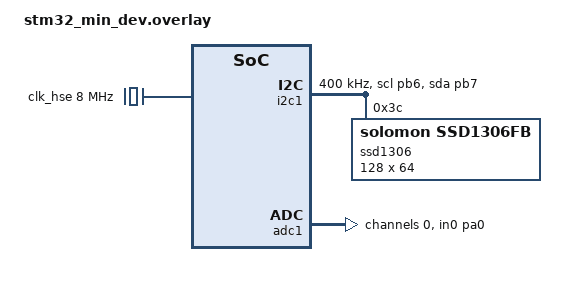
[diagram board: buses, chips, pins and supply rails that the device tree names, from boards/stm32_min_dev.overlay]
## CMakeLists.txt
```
cmake_minimum_required(VERSION 3.20.0)
set(BOARD stm32_bp)
set(SAMPLES_LG 7)

find_package(Zephyr REQUIRED HINTS $ENV{ZEPHYR_BASE})
project(visualizer)

add_compile_definitions(SAMPLES_LG=${SAMPLES_LG})

add_custom_command(
    OUTPUT "${CMAKE_CURRENT_SOURCE_DIR}/src/tables.h"
    COMMAND "${CMAKE_CURRENT_SOURCE_DIR}/scripts/table_gen.py" ${SAMPLES_LG}
    DEPENDS "${CMAKE_CURRENT_SOURCE_DIR}/scripts/table_gen.py"
)

add_custom_target(
    tables
    DEPENDS "${CMAKE_CURRENT_SOURCE_DIR}/src/tables.h"
)

add_dependencies(app tables)

target_sources(app PRIVATE src/main.c)
target_sources(app PRIVATE src/adc.c)
target_sources(app PRIVATE src/ssd1306.c)
target_sources(app PRIVATE src/fft.c)
```

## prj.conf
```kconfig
CONFIG_BOOT_BANNER=n
CONFIG_SPI=n

CONFIG_ADC=y
CONFIG_I2C=y

CONFIG_DISPLAY=y
CONFIG_CHARACTER_FRAMEBUFFER=y
CONFIG_HEAP_MEM_POOL_SIZE=2048
```

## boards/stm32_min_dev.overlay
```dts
&clk_hse {
	clock-frequency = <DT_FREQ_M(8)>;
	status = "okay";
};

&clk_hsi {
	clock-frequency = <DT_FREQ_M(8)>;
	status = "okay";
};

&pll {
	mul = <9>;
	clocks = <&clk_hse>;
	status = "okay";
};

&rcc {
	clocks = <&pll>;
	clock-frequency = <DT_FREQ_M(72)>;
	ahb-prescaler = <1>;
	apb1-prescaler = <2>;
	apb2-prescaler = <16>;
	adc-prescaler = <8>;
};

// SSD1306 in at I2C1
&i2c1 {
	pinctrl-0 = < &i2c1_scl_pb6 &i2c1_sda_pb7 >;
	status = "okay";
	pinctrl-names = "default";
	clock-frequency = <I2C_BITRATE_FAST>;

    ssd1306: ssd1306@3c {
        compatible = "solomon,ssd1306fb";
        reg = <0x3c>;
        width = <128>;
        height = <64>;
        segment-offset = <0>;
		page-offset = <0>;
		display-offset = <0>;
		multiplex-ratio = <63>;
		segment-remap;
		com-invdir;
		prechargep = <0x22>;
    };
};

// Signal in at A0
&adc1 {
    #io-channel-cels = <1>;
	#address-cells = <1>;
	#size-cells = <0>;

	pinctrl-0 = <&adc1_in0_pa0>;
	pinctrl-names = "default";
	status = "okay";

	channel@0 {
		reg = <0>;
		zephyr,gain = "ADC_GAIN_1";
		zephyr,reference = "ADC_REF_INTERNAL";
		zephyr,acquisition-time = <ADC_ACQ_TIME_DEFAULT>;
		zephyr,resolution = <12>;
	};
};
```

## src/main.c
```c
#include "adc.h"
#include "fft.h"
#include "ssd1306.h"

#include <stdio.h>
#include <zephyr/kernel.h>

#define HEAP_SIZE (SAMPLES * sizeof(complex_t) * 8)
K_HEAP_DEFINE(fft_heap, HEAP_SIZE);

int main(void)
{
    if (adc_init() < 0)
        return -1;

    printf("adc init done\n");

    complex_t *data = k_heap_alloc(&fft_heap, SAMPLES * sizeof(complex_t), K_MSEC(1000));
    int8_t bins[BINS];
    for (int16_t i = 0; i < BINS; i++)
        bins[i] = 0x7F;

    if (ssd1306_init() < 0)
        goto error;

    printf("ssd1306 init done\n");

    ssd1306_update_frame(bins);

    printf("start sampling\n");
    while (1) {
        if (adc_sample(data) < 0)
            goto error;
        fft_compute(data, bins);
        ssd1306_update_frame(bins);
    }


	return 0;

error:
    k_heap_free(&fft_heap, data);
    return -1;
}
```

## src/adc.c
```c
#include "adc.h"
#include "fft.h"

#include <stdio.h>
#include <zephyr/kernel.h>
#include <zephyr/drivers/adc.h>

#define ADC_NODE DT_NODELABEL(adc1)
#define ADC_CHANNEL_NODE DT_CHILD(ADC_NODE, channel_0)

static const struct device *adc_dev = DEVICE_DT_GET(ADC_NODE);
static const struct adc_channel_cfg adc_chann =
    ADC_CHANNEL_CFG_DT(DT_CHILD(ADC_NODE, channel_0));

enum adc_action adc_sleep(
    const struct device *dev,
    const struct adc_sequence *seq,
    uint16_t idx
)
{
    for (uint16_t i = 0; i < 153; i++)
        __asm volatile("SEV");
    return ADC_ACTION_CONTINUE;
}

const struct adc_sequence_options options = {
    .extra_samplings = SAMPLES - 1,
    .interval_us = 0,
    .callback = adc_sleep,
};

uint16_t buf[SAMPLES];
struct adc_sequence adc_seq = {
    .buffer = buf,
    .buffer_size = sizeof(buf),
    .resolution = 12,
    .channels = BIT(adc_chann.channel_id),
    //.calibrate = true,
    .options = &options,
};

int adc_init(void)
{
    if (!device_is_ready(adc_dev))
    {
        printf("adc not ready, exiting\n");
        return -1;
    }

    if (adc_channel_setup(adc_dev, &adc_chann) < 0)
    {
        printf("error configuring adc channel\n");
        return -1;
    }
    return 0;
}

void adc_mv_conv(int32_t *v)
{
    int err = adc_raw_to_millivolts(
        adc_ref_internal(adc_dev), adc_chann.gain,
        adc_seq.resolution, v);

    if (err < 0)
        printf("error converting raw adc value\n");
}

int adc_sample(complex_t *data)
{
    int err = adc_read(adc_dev, &adc_seq);
    if (err < 0)
    {
        printf("adc error (%d)\n", err);
        return -1;
    }

    for (uint16_t i = 0; i < SAMPLES; i++)
    {
        int32_t v = buf[i];
        adc_mv_conv(&v);
        data[i].Re = v;
        data[i].Im = 0;
    }

    return 0;
}
```

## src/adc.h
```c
#ifndef __ADC_H
#define __ADC_H

#include "fft.h"
#include <stdint.h>

#define SAMPLES (1 << SAMPLES_LG)

int adc_init(void);
void adc_mv_conv(int32_t *v);
int adc_sample(complex_t *data);

#endif
```

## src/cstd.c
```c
#include <stdint.h>

#include "main.h"

int32_t _write(int32_t handle, char *data, int32_t len)
{
    int32_t count = 0;
    for (uint32_t i = 0; i < len; i++)
        count += usart_send(data[i]);
    return count;
}

int32_t _read(int32_t handle, char *data, int32_t len)
{
    for (uint32_t i = 0; i < len; i++)
        data[i] = usart_read();
    return len;
}

int32_t _close(int32_t handle)
{
    return -1;
}

int32_t _lseek(int32_t handle, int32_t offset, int32_t whence)
{
    return -1;
}
```

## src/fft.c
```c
#include <stdint.h>

#include "adc.h"
#include "fft.h"
#include "ssd1306.h"
#include "tables.h"

#define ABS(x)    (((x) < 0) ? (-(x)) : (x))
#define MAX(x, y) (((x) > (y)) ? (x) : (y))
#define MIN(x, y) (((x) > (y)) ? (y) : (x))

void fft_compute(complex_t *data, int8_t *bins)
{
    preprocess(data);
    bit_reversal(data);
    fft(data);
    scale(data, bins);
}

void preprocess(complex_t *data)
{
    int32_t mean = 0;
    for (uint16_t i = 0; i < SAMPLES; i++)
        mean += data[i].Re;
    mean /= SAMPLES;
    for (uint16_t i = 0; i < SAMPLES; i++)
        data[i].Re -= mean;
}

void bit_reversal(complex_t *data)
{
    uint16_t reversal[SAMPLES];
    reversal[0] = 0;
    reversal[1] = 1;
    for (uint16_t k = 2; k <= SAMPLES_LG; k++)
    {
        const uint16_t r = 1 << k;
        const uint16_t l = r >> 1;

        for (uint16_t i = 0; i < l; i++)
            reversal[i] *= 2;
        for (uint16_t i = l; i < r; i++)
            reversal[i] = reversal[i - l] + 1;
    }
    for (uint16_t i = 1; i < SAMPLES; i++)
    {
        uint16_t j = reversal[i];
        if (j > i)
        {
            complex_t tmp = data[i];
            data[i] = data[j];
            data[j] = tmp;
        }
    }
}

void fft(complex_t *data)
{
    uint32_t lg = 0;
    while (lg < SAMPLES_LG)
    {
        const uint32_t n = 1 << lg;
        const uint32_t sets = SAMPLES / (n << 1);
        complex_t *a = &data[0];
        for (uint32_t i = 0; i < n; i++)
        {
            complex_t twiddle;
            if (i != 0 && i != n / 2)
            {
                twiddle.Re = sin_table[(i * sets + SAMPLES / 4) % (SAMPLES / 2)];
                if (i*sets >= SAMPLES / 4)
                    twiddle.Re = -twiddle.Re;
                twiddle.Im = -sin_table[i * sets];
            }

            for (uint32_t j = 0; j < sets; j++)
            {
                complex_t *b = a + n;
                complex_t c; // = b * twiddle
                if (i == 0)
                {
                    // sin(0) == 0 && cos(0) == sin(pi/2) == 1
                    c.Re = b->Re;
                    c.Im = b->Im;
                }
                else if (i == n / 2)
                {
                    // sin(pi / 2) == 1 && cos(pi / 2) == sin(pi) == 0
                    c.Re = b->Im;
                    c.Im = -b->Re;
                }
                else
                {
                    c.Re = scaled_mul(b->Re, twiddle.Re)
                        - scaled_mul(b->Im, twiddle.Im);

                    c.Im = scaled_mul(b->Im, twiddle.Re)
                        + scaled_mul(b->Re, twiddle.Im);
                }

                b->Re = a->Re - c.Re;
                b->Im = a->Im - c.Im;
                a->Re += c.Re;
                a->Im += c.Im;

                a += 2*n;
            }
            a -= SAMPLES - 1;
        }
        lg++;
    }
}

void scale(complex_t *data, int8_t *bins)
{
    data++;

    const uint8_t step = (SAMPLES >> 1) / BINS;

    for (uint16_t i = 0; i < BINS; i++)
    {
        uint32_t tmp = 0;
        for (uint16_t j = 0; j < step; j++)
        {
            tmp += (uint32_t) ABS(data[i*step + j].Re) * ABS(data[i*step + j].Re);
            tmp += (uint32_t) ABS(data[i*step + j].Im) * ABS(data[i*step + j].Im);
        }
        tmp *= 4;
        tmp /= step;
        int16_t lg2 = 0;
        while(tmp)
        {
            tmp >>= 1;
            lg2++;
        }
        bins[i] = MAX(0, 8 * lg2 + weights[i] - 200);
    }
}

int16_t scaled_mul(int16_t a, int16_t b)
{
    int8_t negs = 0;
    if (a < 0)
        negs++;

    if (b < 0)
        negs++;

    uint32_t tmp = ABS(a);
    tmp *= ABS(b);
    tmp >>= 15;
    return (negs == 1) ? -(int16_t) tmp : (int16_t) tmp;
}
```

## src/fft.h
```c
#ifndef __FFT_H
#define __FFT_H

#include <stdint.h>

typedef struct {
    int16_t Re;
    int16_t Im;
} complex_t;


/* fft.c */
void fft_compute(complex_t *data, int8_t *bins);
void preprocess(complex_t *data);
void bit_reversal(complex_t *data);
void fft(complex_t *data);
void scale(complex_t *data, int8_t *frame_buffer);
int16_t scaled_mul(int16_t a, int16_t b);

#endif
```

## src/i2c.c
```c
#include <stdint.h>
#include "stm32f1xx.h"

#include "main.h"

#define I2Ci I2C1
#define I2C_SPEED 1000000

void i2c_init(void)
{
    MODIFY_REG(GPIOB->CRL, GPIO_CRL_CNF6 | GPIO_CRL_MODE6, GPIO_CRL_MODE6 | GPIO_CRL_CNF6);
    MODIFY_REG(GPIOB->CRL, GPIO_CRL_CNF7 | GPIO_CRL_MODE7, GPIO_CRL_MODE7 | GPIO_CRL_CNF7);

    CLEAR_BIT(I2Ci->CR1, I2C_CR1_PE);
    SET_BIT(I2Ci->CR1, I2C_CR1_SWRST);
    CLEAR_BIT(I2Ci->CR1, I2C_CR1_SWRST);

    uint32_t PPRE1 = APBPrescTable[READ_BIT(RCC->CFGR, RCC_CFGR_PPRE1) >> RCC_CFGR_PPRE1_Pos];
    uint32_t PCLK1 = SystemCoreClock >> PPRE1;
    // FREQ = 3 ?
    MODIFY_REG(I2Ci->CR2, I2C_CR2_FREQ, (PCLK1 / 10000000) << I2C_CR2_FREQ_Pos);

    uint32_t CCR = (PCLK1 - 1) / (I2C_SPEED * (9 + 16)) + 1;
    CCR <<= I2C_CCR_CCR_Pos;
    CCR &= I2C_CCR_CCR;
    CCR |= I2C_CCR_DUTY;
    CCR |= I2C_CCR_FS;
    MODIFY_REG(I2Ci->CCR, I2C_CCR_FS | I2C_CCR_DUTY | I2C_CCR_CCR, CCR);

    uint32_t TRISE = PCLK1 * 300 / 1000 + 1;
    MODIFY_REG(I2Ci->TRISE, I2C_TRISE_TRISE, TRISE);

    SET_BIT(I2Ci->CR1, I2C_CR1_PE);
}

void i2c_start(uint8_t i2c_address)
{
    while (READ_BIT(I2Ci->SR2, I2C_SR2_BUSY) != 0x0);
    CLEAR_BIT(I2Ci->CR1, I2C_CR1_POS);
    SET_BIT(I2Ci->CR1, I2C_CR1_START);

    while (READ_BIT(I2Ci->SR1, I2C_SR1_SB) != I2C_SR1_SB);
    WRITE_REG(I2Ci->DR, i2c_address);

    while (READ_BIT(I2Ci->SR1, I2C_SR1_ADDR) != I2C_SR1_ADDR);
    uint16_t clear = 0x0;
    clear = READ_REG(I2Ci->SR1);
    clear = READ_REG(I2Ci->SR2);
    UNUSED(clear);
}

void i2c_send(uint8_t byte)
{
    while (READ_BIT(I2Ci->SR1, I2C_SR1_TXE) != I2C_SR1_TXE)
    {
        if (READ_BIT(I2Ci->SR1, I2C_SR1_AF) == I2C_SR1_AF)
            continue;
    }

    WRITE_REG(I2Ci->DR, byte);
}

void i2c_stop(void)
{
    while (READ_BIT(I2Ci->SR1, I2C_SR1_TXE) != I2C_SR1_TXE);
    SET_BIT(I2Ci->CR1, I2C_CR1_STOP);
}
```

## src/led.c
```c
#include <stdint.h>
#include "stm32f1xx.h"

#include "main.h"

void led_init(void)
{
    MODIFY_REG(GPIOC->CRH, GPIO_CRH_MODE13, GPIO_CRH_MODE13);
    led_off();
}

void led_on(void)
{
    SET_BIT(GPIOC->BSRR, GPIO_BSRR_BR13);
}

void led_off(void)
{
    SET_BIT(GPIOC->BSRR, GPIO_BSRR_BS13);
}
```

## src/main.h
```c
#ifndef MAIN_H
#define MAIN_H

#define SAMPLES (1 << SAMPLES_LG)

#define SSD1306_WIDTH 128
#define SSD1306_HEIGHT 64
#define SSD1306_ADDRESS 0x78

#define BINS ((SSD1306_WIDTH / 2) - 1)

//assert(SAMPLES >= 2*BINS);

#define UNUSED(x) ((void) x)
#define ABS(x)    (((x) < 0) ? (-(x)) : (x))
#define MAX(x, y) (((x) > (y)) ? (x) : (y))
#define MIN(x, y) (((x) > (y)) ? (y) : (x))

typedef struct {
    int32_t Re;
    int32_t Im;
} complex_t;

/* main.c */
void init(void);
void clock_init(void);
void sleep(uint32_t ms);
int main(void);

/* adc.c */
void adc_init(void);
void adc_sample(complex_t *data);

/* cstd.c */
int32_t _write(int32_t handle, char *data, int32_t len);
int32_t _read(int32_t handle, char *data, int32_t len);
int32_t _close(int32_t handle);
int32_t _lseek(int32_t handle, int32_t offset, int32_t whence);

/* fft.c */
void bit_reversal(complex_t *data);
void fft(complex_t *data);
void scale(complex_t *data, int16_t *frame_buffer);
int32_t scaled_mul(int32_t a, int32_t b);

/* i2c.c */
void i2c_init(void);
void i2c_start(uint8_t i2c_address);
void i2c_send(uint8_t byte);
void i2c_stop(void);

/* led.c */
void led_init(void);
void led_on(void);
void led_off(void);

/* ssd1306.c */
void ssd1306_send_cmd(uint8_t byte);
void ssd1306_init(void);
void ssd1306_update_frame(int16_t *frame_buffer);

/* usart.c */
void usart_init(void);
uint8_t usart_send(uint8_t byte);
uint8_t usart_read(void);

#endif
```

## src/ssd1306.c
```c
#include <zephyr/kernel.h>
#include <zephyr/device.h>
#include <zephyr/drivers/i2c.h>
#include <zephyr/display/cfb.h>
#include "ssd1306.h"

static const struct device *cfb_dev = DEVICE_DT_GET(DT_NODELABEL(ssd1306));

int ssd1306_init(void)
{
    if (!device_is_ready(cfb_dev))
    {
        printf("display not ready, exit\n");
        return -1;
    }

	if (display_set_pixel_format(cfb_dev, PIXEL_FORMAT_MONO10) != 0) {
		if (display_set_pixel_format(cfb_dev, PIXEL_FORMAT_MONO01) != 0) {
			printf("Failed to set required pixel format");
			return -1;
		}
	}

	if (cfb_framebuffer_init(cfb_dev)) {
		printf("Framebuffer initialization failed!\n");
		return -1;
	}

    cfb_framebuffer_clear(cfb_dev, true);

    display_blanking_off(cfb_dev);
    cfb_framebuffer_invert(cfb_dev);

    return 0;
}

void ssd1306_update_frame(int8_t *bins)
{
    cfb_framebuffer_clear(cfb_dev, false);
    for (uint16_t i = 0; i < BINS; i++)
    {
        int16_t x = 2*i; int16_t y = bins[i];
        struct cfb_position start = { x, 64 };
        struct cfb_position end = { x, MAX(64 - y, 0) };

        cfb_draw_line(cfb_dev, &start, &end);
    }

    cfb_framebuffer_finalize(cfb_dev);
    return;
}
```

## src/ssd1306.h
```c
#ifndef __SSD1306_H
#define __SSD1306_H

#define SSD1306_WIDTH 128
#define SSD1306_HEIGHT 64
#define BINS ((SSD1306_WIDTH / 2) - 1)

#define SSD1306_ADDRESS 0x3c

#define SSD1306_DISP_ON 0xAF
#define SSD1306_DISP_OFF 0xAE
#define SSD1306_ENTIRE_DISP_ON 0xA5
#define SSD1306_ENTIRE_DISP_OFF 0xA4
#define SSD1306_DISP_INVERSE 0xA7
#define SSD1306_DISP_NORMAL 0xA6
#define SSD1306_SET_CONTRAST 0x81

#define SSD1306_SET_LOW_COL 0x00
#define SSD1306_SET_HIGH_COL 0x10
#define SSD1306_MEM_MODE 0x20
#define SSD1306_COL_ADDR 0x21
#define SSD1306_PAGE_ADDR 0x22
#define SSD1306_SET_START_LINE 0x40

#define SSD1306_SEG_REMAP 0xA0
#define SSD1306_SET_MUX 0xA8
#define SSD1306_COM_SCAN_INC 0xC0
#define SSD1306_COM_SCAN_DEC 0xC8
#define SSD1306_SET_COM_PINS 0xDA
#define SSD1306_SET_DISP_OFFSET 0xD3
#define SSD1306_CHARGE_PUMP 0x8D
#define SSD1306_SET_CLOCK_DIV 0xD5
#define SSD1306_NOP 0xE3

int ssd1306_init(void);
void ssd1306_update_frame(int8_t *bins);

#endif
```

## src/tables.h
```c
#ifndef TABLES_H
#define TABLES_H

const int16_t sin_table[SAMPLES/2] = {
    0x0000, 0x0324, 0x0648, 0x096A,
    0x0C8C, 0x0FAB, 0x12C8, 0x15E2,
    0x18F9, 0x1C0B, 0x1F1A, 0x2223,
    0x2528, 0x2826, 0x2B1F, 0x2E11,
    0x30FB, 0x33DF, 0x36BA, 0x398C,
    0x3C56, 0x3F17, 0x41CE, 0x447A,
    0x471C, 0x49B4, 0x4C3F, 0x4EBF,
    0x5133, 0x539B, 0x55F5, 0x5842,
    0x5A82, 0x5CB3, 0x5ED7, 0x60EB,
    0x62F1, 0x64E8, 0x66CF, 0x68A6,
    0x6A6D, 0x6C23, 0x6DC9, 0x6F5E,
    0x70E2, 0x7254, 0x73B5, 0x7504,
    0x7641, 0x776B, 0x7884, 0x7989,
    0x7A7C, 0x7B5C, 0x7C29, 0x7CE3,
    0x7D89, 0x7E1D, 0x7E9C, 0x7F09,
    0x7F61, 0x7FA6, 0x7FD8, 0x7FF5,
    0x7FFF, 0x7FF5, 0x7FD8, 0x7FA6,
    0x7F61, 0x7F09, 0x7E9C, 0x7E1D,
    0x7D89, 0x7CE3, 0x7C29, 0x7B5C,
    0x7A7C, 0x7989, 0x7884, 0x776B,
    0x7641, 0x7504, 0x73B5, 0x7254,
    0x70E2, 0x6F5E, 0x6DC9, 0x6C23,
    0x6A6D, 0x68A6, 0x66CF, 0x64E8,
    0x62F1, 0x60EB, 0x5ED7, 0x5CB3,
    0x5A82, 0x5842, 0x55F5, 0x539B,
    0x5133, 0x4EBF, 0x4C3F, 0x49B4,
    0x471C, 0x447A, 0x41CE, 0x3F17,
    0x3C56, 0x398C, 0x36BA, 0x33DF,
    0x30FB, 0x2E11, 0x2B1F, 0x2826,
    0x2528, 0x2223, 0x1F1A, 0x1C0B,
    0x18F9, 0x15E2, 0x12C8, 0x0FAB,
    0x0C8C, 0x096A, 0x0648, 0x0324
};

const int16_t weights[BINS] = {
    -86, -37, -21, -13,
     -8,  -4,  -2,   0,
      0,   1,   2,   2,
      3,   3,   3,   3,
      4,   4,   4,   4,
      4,   4,   4,   4,
      4,   3,   3,   3,
      3,   3,   3,   3,
      3,   2,   2,   2,
      2,   2,   2,   1,
      1,   1,   1,   0,
      0,   0,   0,   0,
      0,   0,   0,   0,
     -1,  -1,  -1,  -1,
     -2,  -2,  -2,  -2,
     -3,  -3,  -3
};
#endif
```

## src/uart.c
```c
#include <stdint.h>
#include "stm32f1xx.h"

#include "main.h"

void uart_init(void)
{

}
```
